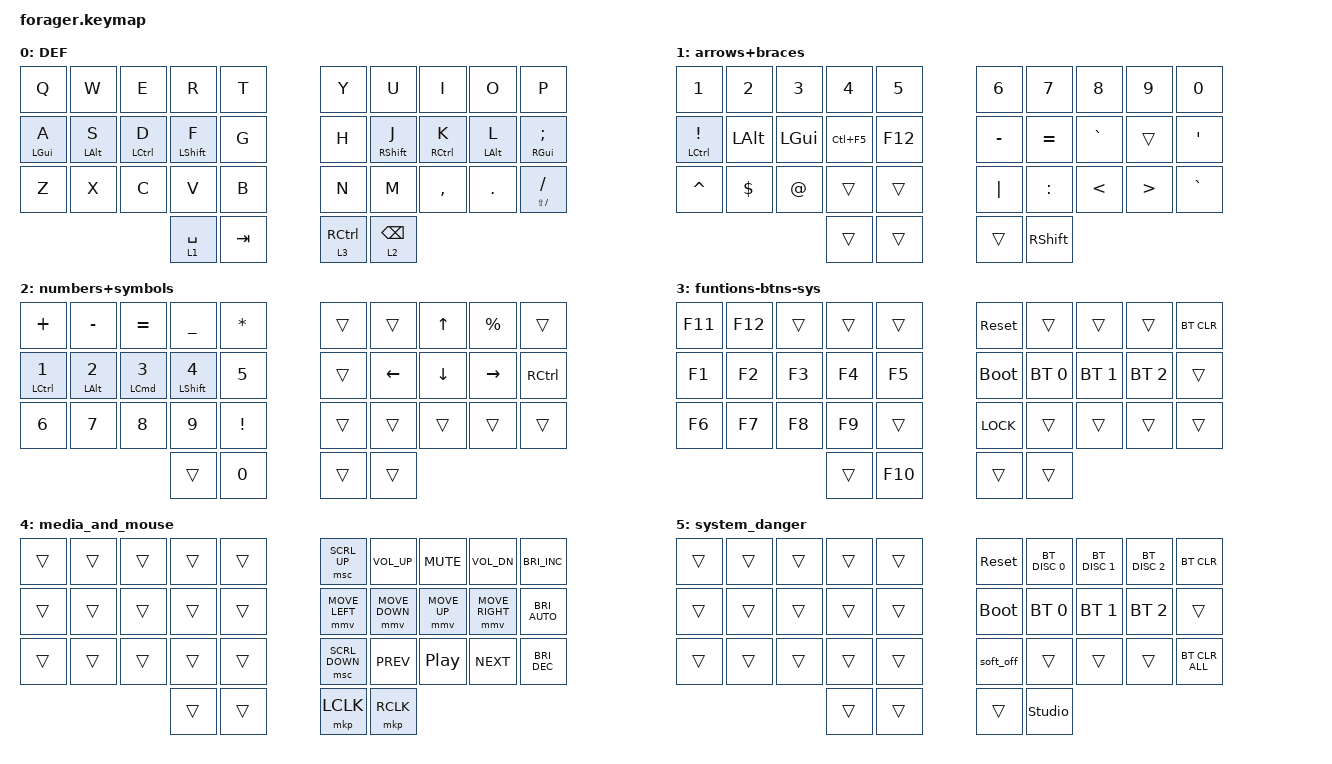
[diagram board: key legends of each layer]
#define ZMK_POINTING_DEFAULT_MOVE_VAL 1000  // default: 600
#define ZMK_POINTING_DEFAULT_SCRL_VAL 15    // default: 10

#include <behaviors.dtsi>
#include <dt-bindings/zmk/bt.h>
#include <dt-bindings/zmk/keys.h>
#include <dt-bindings/zmk/pointing.h>

#define BASE 0
#define NAV  1
#define SYM  2
#define ADJ  3

/*
 * Copyright (c) 2020 The ZMK Contributors
 *
 * SPDX-License-Identifier: MIT
 */

&lt {
    quick-tap-ms = <200>;
    tapping-term-ms = <150>;
    flavor = "balanced";
};

&mt { quick-tap-ms = <200>; };

/ {
    behaviors {
        thumb_ht: thumb_hold_tap {
            compatible = "zmk,behavior-hold-tap";
            label = "HOMEROW_MODS";
            #binding-cells = <2>;
            tapping-term-ms = <150>;
            flavor = "balanced";
            bindings = <&kp>, <&kp>;

            quick-tap-ms = <180>;
            hold-trigger-key-positions = <0 1 2 3 4 14 10 11 12 13 14 20 21 22 23 24 5 6 7 8 9 15 16 17 18 19 25 26 27 28 29>;
        };

        hml: left_homerow_mods {
            compatible = "zmk,behavior-hold-tap";
            #binding-cells = <2>;
            flavor = "balanced";
            tapping-term-ms = <220>;
            quick-tap-ms = <200>;
            require-prior-idle-ms = <100>;
            bindings = <&kp>, <&kp>;

            hold-trigger-key-positions = <5 6 7 8 9 15 16 17 18 19 25 26 27 28 29 30 31 32 33>;
            hold-trigger-on-release;
        };

        hmr: right_homerow_mods {
            compatible = "zmk,behavior-hold-tap";
            #binding-cells = <2>;
            flavor = "balanced";
            tapping-term-ms = <220>;
            quick-tap-ms = <200>;
            require-prior-idle-ms = <100>;
            bindings = <&kp>, <&kp>;

            hold-trigger-key-positions = <0 1 2 3 4 10 11 12 13 14 20 21 22 23 24 30 31 32 33>;
            hold-trigger-on-release;
        };

        as: auto_shift {
            compatible = "zmk,behavior-hold-tap";
            label = "AUTO_SHIFT";
            bindings = <&kp>, <&kp>;

            #binding-cells = <2>;
            flavor = "tap-preferred";
            tapping-term-ms = <250>;
            require-prior-idle-ms = <100>;
        };
    };

    macros {
        thin_arrow: thin_arrow {
            compatible = "zmk,behavior-macro";
            #binding-cells = <0>;
            bindings = <&kp MINUS &kp GT>;
            label = "THIN_ARROW";
        };

        thick_arrow: thick_arrow {
            compatible = "zmk,behavior-macro";
            #binding-cells = <0>;
            bindings = <&kp EQUAL &kp GREATER_THAN>;
            label = "THICK_ARROW";
        };

        rs_lambda_macro: rs_lambda_macro {
            compatible = "zmk,behavior-macro";
            #binding-cells = <0>;
            bindings = <&kp PIPE &kp PIPE &kp LEFT>;
            label = "RS_LAMBDA_MACRO";
        };
    };

    combos {
        compatible = "zmk,combos";

        combo1 {
            bindings = <&kp LEFT_BRACKET>;
            key-positions = <2 3>;
        };

        combo2 {
            bindings = <&kp RIGHT_BRACKET>;
            key-positions = <6 7>;
        };

        combo3 {
            bindings = <&kp LEFT_PARENTHESIS>;
            key-positions = <12 13>;
        };

        combo4 {
            bindings = <&kp RIGHT_PARENTHESIS>;
            key-positions = <16 17>;
        };

        combo5 {
            bindings = <&kp LEFT_BRACE>;
            key-positions = <22 23>;
        };

        combo6 {
            bindings = <&kp RIGHT_BRACE>;
            key-positions = <26 27>;
        };

        combo7 {
            bindings = <&kp BSLH>;
            key-positions = <4 5>;
        };

        combo8 {
            bindings = <&kp PIPE>;
            key-positions = <14 15>;
        };

        combo9 {
            bindings = <&kp ENTER>;
            key-positions = <18 19>;
        };
    };

    keymap {
        compatible = "zmk,keymap";

        default_layer {
            label = "DEF";
            bindings = <
  &kp Q            &kp W            &kp E         &kp R              &kp T      &kp Y        &kp U               &kp I         &kp O            &kp P
  &hml LEFT_GUI A  &hml LEFT_ALT S  &hml LCTRL D  &hml LEFT_SHIFT F  &kp G      &kp H        &hmr RIGHT_SHIFT J  &hmr RCTRL K  &hmr LEFT_ALT L  &hmr RIGHT_GUI SEMICOLON
  &kp Z            &kp X            &kp C         &kp V              &kp B      &kp N        &kp M               &kp COMMA     &kp DOT          &as LS(SLASH) SLASH
                                                  &lt 1 SPACE        &kp TAB    &lt 3 RCTRL  &lt 2 BACKSPACE
            >;
        };

        arrows+braces {
            bindings = <
  &kp NUMBER_1            &kp NUMBER_2  &kp NUMBER_3  &kp NUMBER_4  &kp N5     &kp NUMBER_6  &kp N7           &kp N8         &kp N9            &kp N0
  &hml LCTRL EXCLAMATION  &kp LALT      &kp LGUI      &kp LC(F5)    &kp F12    &kp MINUS     &kp EQUAL        &kp GRAVE      &trans            &kp APOSTROPHE
  &kp CARET               &kp DOLLAR    &kp AT        &trans        &trans     &kp PIPE      &kp COLON        &kp LESS_THAN  &kp GREATER_THAN  &kp GRAVE
                                                      &trans        &trans     &trans        &kp RIGHT_SHIFT
            >;
        };

        numbers+symbols {
            bindings = <
  &kp PLUS                    &kp MINUS               &kp EQUAL                   &kp UNDERSCORE            &kp STAR           &trans  &trans          &kp UP_ARROW  &kp PERCENT  &trans
  &hml LEFT_CONTROL NUMBER_1  &hml LEFT_ALT NUMBER_2  &hml LEFT_COMMAND NUMBER_3  &hml LEFT_SHIFT NUMBER_4  &kp NUMBER_5       &trans  &kp LEFT_ARROW  &kp DOWN      &kp RIGHT    &kp RIGHT_CONTROL
  &kp NUMBER_6                &kp NUMBER_7            &kp NUMBER_8                &kp NUMBER_9              &kp EXCLAMATION    &trans  &trans          &trans        &trans       &trans
                                                                                  &trans                    &kp NUMBER_0       &trans  &trans
            >;
        };

        funtions-btns-sys {
            bindings = <
  &kp F11  &kp F12  &trans  &trans  &trans     &sys_reset   &trans        &trans        &trans        &bt BT_CLR
  &kp F1   &kp F2   &kp F3  &kp F4  &kp F5     &bootloader  &bt BT_SEL 0  &bt BT_SEL 1  &bt BT_SEL 2  &trans
  &kp F6   &kp F7   &kp F8  &kp F9  &trans     &kp K_LOCK   &trans        &trans        &trans        &trans
                            &trans  &kp F10    &trans       &trans
            >;
        };

        media_and_mouse {
            bindings = <
  &trans  &trans  &trans  &trans  &trans    &msc SCRL_UP    &kp C_VOLUME_UP  &kp K_MUTE        &kp C_VOL_DN     &kp C_BRIGHTNESS_INC
  &trans  &trans  &trans  &trans  &trans    &mmv MOVE_LEFT  &mmv MOVE_DOWN   &mmv MOVE_UP      &mmv MOVE_RIGHT  &kp C_BRIGHTNESS_AUTO
  &trans  &trans  &trans  &trans  &trans    &msc SCRL_DOWN  &kp C_PREV       &kp C_PLAY_PAUSE  &kp C_NEXT       &kp C_BRIGHTNESS_DEC
                          &trans  &trans    &mkp LCLK       &mkp RCLK
            >;
        };

        system_danger {
            bindings = <
  &trans  &trans  &trans  &trans  &trans    &sys_reset   &bt BT_DISC 0   &bt BT_DISC 1  &bt BT_DISC 2  &bt BT_CLR
  &trans  &trans  &trans  &trans  &trans    &bootloader  &bt BT_SEL 0    &bt BT_SEL 1   &bt BT_SEL 2   &trans
  &trans  &trans  &trans  &trans  &trans    &soft_off    &trans          &trans         &trans         &bt BT_CLR_ALL
                          &trans  &trans    &trans       &studio_unlock
            >;
        };
    };
};
